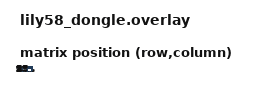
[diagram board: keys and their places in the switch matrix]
#include <dt-bindings/zmk/matrix_transform.h>
/* REQUIRED for Studio 'keys' helpers */
#include <physical_layouts.dtsi>

/ {
    chosen {
        zmk,kscan = &mock_kscan;
        /* Studio needs a physical layout selected here */
        zmk,physical-layout = &physical_layout0;
    };

    /* Dongle has no real kscan */
    mock_kscan: mock_kscan_0 {
        compatible = "zmk,kscan-mock";
        columns = <0>;
        rows = <0>;
        events = <0>;
    };

    /* Lily58 logical transform (5 x 12), matching your map */
    default_transform: keymap_transform_0 {
        compatible = "zmk,matrix-transform";
        columns = <12>;
        rows = <5>;
        map = <
            RC(0,0) RC(0,1) RC(0,2) RC(0,3) RC(0,4) RC(0,5)                 RC(0,6) RC(0,7) RC(0,8) RC(0,9)  RC(0,10) RC(0,11)
            RC(1,0) RC(1,1) RC(1,2) RC(1,3) RC(1,4) RC(1,5)                 RC(1,6) RC(1,7) RC(1,8) RC(1,9)  RC(1,10) RC(1,11)
            RC(2,0) RC(2,1) RC(2,2) RC(2,3) RC(2,4) RC(2,5)                 RC(2,6) RC(2,7) RC(2,8) RC(2,9)  RC(2,10) RC(2,11)
            RC(3,0) RC(3,1) RC(3,2) RC(3,3) RC(3,4) RC(3,5) RC(4,5) RC(4,6) RC(3,6) RC(3,7) RC(3,8) RC(3,9) RC(3,10) RC(3,11)
                                    RC(4,1) RC(4,2) RC(4,3) RC(4,4)         RC(4,7) RC(4,8) RC(4,9) RC(4,10)
        >;
    };

    /* Studio-ready physical layout: must include keys[] */
    physical_layout0: physical_layout_0 {
        compatible = "zmk,physical-layout";
        display-name = "Lily58 Layout";
        transform = <&default_transform>;

        /* 58 key positions, left-to-right with a gap between halves.
         * Format per docs: <&key_physical_attrs w h x y r rx ry>
         * Using unit grid (w=h=1, r=rx=ry=0). Coordinates are illustrative
         * and adequate for Studio; tweak if you want nicer spacing/angle.
         */

        /* Row 0: 12 keys (6 left, 6 right) */
        keys = <
            /* L0 row */
            &key_physical_attrs 1 1   0 0 0 0 0
            &key_physical_attrs 1 1   1 0 0 0 0
            &key_physical_attrs 1 1   2 0 0 0 0
            &key_physical_attrs 1 1   3 0 0 0 0
            &key_physical_attrs 1 1   4 0 0 0 0
            &key_physical_attrs 1 1   5 0 0 0 0

            &key_physical_attrs 1 1  12 0 0 0 0
            &key_physical_attrs 1 1  13 0 0 0 0
            &key_physical_attrs 1 1  14 0 0 0 0
            &key_physical_attrs 1 1  15 0 0 0 0
            &key_physical_attrs 1 1  16 0 0 0 0
            &key_physical_attrs 1 1  17 0 0 0 0

            /* Row 1 */
            &key_physical_attrs 1 1   0 1 0 0 0
            &key_physical_attrs 1 1   1 1 0 0 0
            &key_physical_attrs 1 1   2 1 0 0 0
            &key_physical_attrs 1 1   3 1 0 0 0
            &key_physical_attrs 1 1   4 1 0 0 0
            &key_physical_attrs 1 1   5 1 0 0 0

            &key_physical_attrs 1 1  12 1 0 0 0
            &key_physical_attrs 1 1  13 1 0 0 0
            &key_physical_attrs 1 1  14 1 0 0 0
            &key_physical_attrs 1 1  15 1 0 0 0
            &key_physical_attrs 1 1  16 1 0 0 0
            &key_physical_attrs 1 1  17 1 0 0 0

            /* Row 2 */
            &key_physical_attrs 1 1   0 2 0 0 0
            &key_physical_attrs 1 1   1 2 0 0 0
            &key_physical_attrs 1 1   2 2 0 0 0
            &key_physical_attrs 1 1   3 2 0 0 0
            &key_physical_attrs 1 1   4 2 0 0 0
            &key_physical_attrs 1 1   5 2 0 0 0

            &key_physical_attrs 1 1  12 2 0 0 0
            &key_physical_attrs 1 1  13 2 0 0 0
            &key_physical_attrs 1 1  14 2 0 0 0
            &key_physical_attrs 1 1  15 2 0 0 0
            &key_physical_attrs 1 1  16 2 0 0 0
            &key_physical_attrs 1 1  17 2 0 0 0

            /* Row 3 (the Lily58 inner+outer plus two center keys) */
            &key_physical_attrs 1 1   0 3 0 0 0
            &key_physical_attrs 1 1   1 3 0 0 0
            &key_physical_attrs 1 1   2 3 0 0 0
            &key_physical_attrs 1 1   3 3 0 0 0
            &key_physical_attrs 1 1   4 3 0 0 0
            &key_physical_attrs 1 1   5 3 0 0 0

            /* the two “center” positions between halves from your map (RC(4,5) RC(4,6)) */
            &key_physical_attrs 1 1  10 3 0 0 0
            &key_physical_attrs 1 1  11 3 0 0 0

            &key_physical_attrs 1 1  12 3 0 0 0
            &key_physical_attrs 1 1  13 3 0 0 0
            &key_physical_attrs 1 1  14 3 0 0 0
            &key_physical_attrs 1 1  15 3 0 0 0
            &key_physical_attrs 1 1  16 3 0 0 0
            &key_physical_attrs 1 1  17 3 0 0 0

            /* Thumbs (last line in your map): 4 left, 4 right */
            &key_physical_attrs 1 1   2 4 0 0 0
            &key_physical_attrs 1 1   3 4 0 0 0
            &key_physical_attrs 1 1   4 4 0 0 0
            &key_physical_attrs 1 1   5 4 0 0 0

            &key_physical_attrs 1 1  12 4 0 0 0
            &key_physical_attrs 1 1  13 4 0 0 0
            &key_physical_attrs 1 1  14 4 0 0 0
            &key_physical_attrs 1 1  15 4 0 0 0
        >;
    };
};
